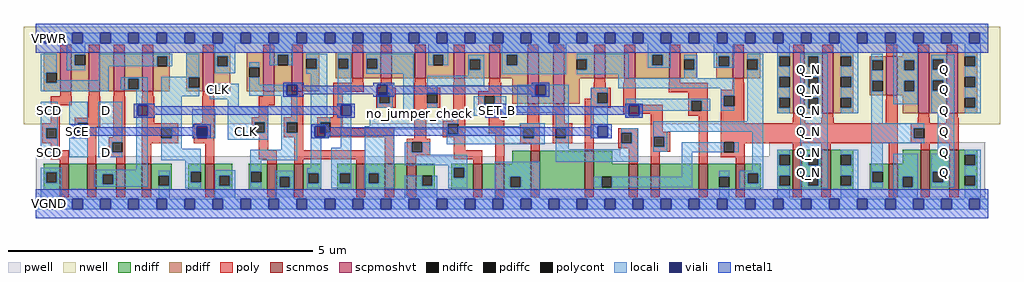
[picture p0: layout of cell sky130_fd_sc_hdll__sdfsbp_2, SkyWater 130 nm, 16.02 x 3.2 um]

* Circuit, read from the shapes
.subckt sky130_fd_sc_hdll__sdfsbp_2 CLK D SCD SCE SET_B VGND VNB VPB VPWR Q Q_N
XM1 n1 SCD VGND VNB sky130_fd_pr__nfet_01v8 w=0.42 l=0.15
XM2 n2 SCE n1 VNB sky130_fd_pr__nfet_01v8 w=0.42 l=0.15
XM3 n3 D n2 VNB sky130_fd_pr__nfet_01v8 w=0.42 l=0.15
XM4 VGND n4 n3 VNB sky130_fd_pr__nfet_01v8 w=0.42 l=0.15
XM5 VGND SCE n4 VNB sky130_fd_pr__nfet_01v8 w=0.42 l=0.15
XM6 VGND CLK n5 VNB sky130_fd_pr__nfet_01v8 w=0.42 l=0.15
XM7 n6 n5 VGND VNB sky130_fd_pr__nfet_01v8 w=0.42 l=0.15
XM8 n7 n5 n2 VNB sky130_fd_pr__nfet_01v8 w=0.42 l=0.15
XM9 n8 n6 n7 VNB sky130_fd_pr__nfet_01v8 w=0.42 l=0.15
XM10 VGND n9 n8 VNB sky130_fd_pr__nfet_01v8 w=0.42 l=0.15
XM11 n10 n7 n9 VNB sky130_fd_pr__nfet_01v8 w=0.42 l=0.15
XM12 VGND SET_B n10 VNB sky130_fd_pr__nfet_01v8 w=0.42 l=0.15
XM13 n11 n7 VGND VNB sky130_fd_pr__nfet_01v8 w=0.64 l=0.15
XM14 n12 n6 n11 VNB sky130_fd_pr__nfet_01v8 w=0.64 l=0.15
XM15 n13 n5 n12 VNB sky130_fd_pr__nfet_01v8 w=0.42 l=0.15
XM16 n14 n15 n13 VNB sky130_fd_pr__nfet_01v8 w=0.42 l=0.15
XM17 VGND SET_B n14 VNB sky130_fd_pr__nfet_01v8 w=0.42 l=0.15
XM18 n15 n12 VGND VNB sky130_fd_pr__nfet_01v8 w=0.42 l=0.15
XM19 Q_N n12 VGND VNB sky130_fd_pr__nfet_01v8 w=0.65 l=0.15 m=2
XM20 VGND n12 n16 VNB sky130_fd_pr__nfet_01v8 w=0.42 l=0.15
XM21 Q n16 VGND VNB sky130_fd_pr__nfet_01v8 w=0.65 l=0.15 m=2
XM22 VPWR SCD n17 VPB sky130_fd_pr__pfet_01v8_hvt w=0.64 l=0.18
XM23 n18 SCE VPWR VPB sky130_fd_pr__pfet_01v8_hvt w=0.64 l=0.18
XM24 n2 D n18 VPB sky130_fd_pr__pfet_01v8_hvt w=0.64 l=0.18
XM25 n17 n4 n2 VPB sky130_fd_pr__pfet_01v8_hvt w=0.64 l=0.18
XM26 VPWR SCE n4 VPB sky130_fd_pr__pfet_01v8_hvt w=0.64 l=0.18
XM27 VPWR CLK n5 VPB sky130_fd_pr__pfet_01v8_hvt w=0.64 l=0.18
XM28 n6 n5 VPWR VPB sky130_fd_pr__pfet_01v8_hvt w=0.64 l=0.18
XM29 n7 n6 n2 VPB sky130_fd_pr__pfet_01v8_hvt w=0.42 l=0.18
XM30 n19 n5 n7 VPB sky130_fd_pr__pfet_01v8_hvt w=0.42 l=0.18
XM31 VPWR n9 n19 VPB sky130_fd_pr__pfet_01v8_hvt w=0.42 l=0.18
XM32 n9 n7 VPWR VPB sky130_fd_pr__pfet_01v8_hvt w=0.42 l=0.18
XM33 VPWR SET_B n9 VPB sky130_fd_pr__pfet_01v8_hvt w=0.42 l=0.18
XM34 n20 n7 VPWR VPB sky130_fd_pr__pfet_01v8_hvt w=0.84 l=0.18
XM35 n12 n5 n20 VPB sky130_fd_pr__pfet_01v8_hvt w=0.84 l=0.18
XM36 n21 n6 n12 VPB sky130_fd_pr__pfet_01v8_hvt w=0.42 l=0.18
XM37 VPWR n15 n21 VPB sky130_fd_pr__pfet_01v8_hvt w=0.42 l=0.18
XM38 n12 SET_B VPWR VPB sky130_fd_pr__pfet_01v8_hvt w=0.42 l=0.18
XM39 n15 n12 VPWR VPB sky130_fd_pr__pfet_01v8_hvt w=0.42 l=0.18
XM40 Q_N n12 VPWR VPB sky130_fd_pr__pfet_01v8_hvt w=1 l=0.18 m=2
XM41 VPWR n12 n16 VPB sky130_fd_pr__pfet_01v8_hvt w=0.64 l=0.18
XM42 Q n16 VPWR VPB sky130_fd_pr__pfet_01v8_hvt w=1 l=0.18 m=2
.ends

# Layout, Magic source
magic
tech sky130A
magscale 1 2
<< nwell >>
rect -38 261 3166 582
<< pwell >>
rect 1538 157 1919 201
rect 2408 157 3118 203
rect 1 21 3118 157
rect 30 -17 64 21
<< scnmos >>
rect 79 47 109 131
rect 169 47 199 131
rect 265 47 295 131
rect 349 47 379 131
rect 557 47 587 131
rect 761 47 791 131
rect 849 47 879 131
rect 1053 47 1083 131
rect 1147 47 1177 131
rect 1219 47 1249 131
rect 1437 47 1467 131
rect 1509 47 1539 131
rect 1625 47 1655 175
rect 1803 47 1833 175
rect 1947 47 1977 131
rect 2019 47 2049 131
rect 2177 47 2207 131
rect 2298 47 2328 131
rect 2486 47 2516 177
rect 2580 47 2610 177
rect 2801 47 2831 131
rect 2906 47 2936 177
rect 3000 47 3030 177
<< scpmoshvt >>
rect 81 369 117 497
rect 175 369 211 497
rect 257 369 293 497
rect 351 369 387 497
rect 549 369 585 497
rect 747 369 783 497
rect 841 369 877 497
rect 1039 413 1075 497
rect 1133 413 1169 497
rect 1245 413 1281 497
rect 1373 413 1409 497
rect 1490 413 1526 497
rect 1616 329 1652 497
rect 1699 329 1735 497
rect 1834 413 1870 497
rect 1932 413 1968 497
rect 2081 413 2117 497
rect 2289 413 2325 497
rect 2488 297 2524 497
rect 2582 297 2618 497
rect 2793 356 2829 484
rect 2898 297 2934 497
rect 2992 297 3028 497
<< ndiff >>
rect 1564 131 1625 175
rect 27 103 79 131
rect 27 69 35 103
rect 69 69 79 103
rect 27 47 79 69
rect 109 47 169 131
rect 199 98 265 131
rect 199 64 221 98
rect 255 64 265 98
rect 199 47 265 64
rect 295 47 349 131
rect 379 93 447 131
rect 379 59 405 93
rect 439 59 447 93
rect 379 47 447 59
rect 501 105 557 131
rect 501 71 509 105
rect 543 71 557 105
rect 501 47 557 71
rect 587 93 645 131
rect 587 59 603 93
rect 637 59 645 93
rect 587 47 645 59
rect 699 105 761 131
rect 699 71 707 105
rect 741 71 761 105
rect 699 47 761 71
rect 791 89 849 131
rect 791 55 801 89
rect 835 55 849 89
rect 791 47 849 55
rect 879 101 937 131
rect 879 67 895 101
rect 929 67 937 101
rect 879 47 937 67
rect 991 101 1053 131
rect 991 67 999 101
rect 1033 67 1053 101
rect 991 47 1053 67
rect 1083 101 1147 131
rect 1083 67 1093 101
rect 1127 67 1147 101
rect 1083 47 1147 67
rect 1177 47 1219 131
rect 1249 93 1311 131
rect 1249 59 1269 93
rect 1303 59 1311 93
rect 1249 47 1311 59
rect 1365 119 1437 131
rect 1365 85 1373 119
rect 1407 85 1437 119
rect 1365 47 1437 85
rect 1467 47 1509 131
rect 1539 89 1625 131
rect 1539 55 1559 89
rect 1593 55 1625 89
rect 1539 47 1625 55
rect 1655 47 1803 175
rect 1833 131 1893 175
rect 2434 161 2486 177
rect 1833 89 1947 131
rect 1833 55 1858 89
rect 1892 55 1947 89
rect 1833 47 1947 55
rect 1977 47 2019 131
rect 2049 47 2177 131
rect 2207 89 2298 131
rect 2207 55 2244 89
rect 2278 55 2298 89
rect 2207 47 2298 55
rect 2328 101 2380 131
rect 2328 67 2338 101
rect 2372 67 2380 101
rect 2328 47 2380 67
rect 2434 127 2442 161
rect 2476 127 2486 161
rect 2434 93 2486 127
rect 2434 59 2442 93
rect 2476 59 2486 93
rect 2434 47 2486 59
rect 2516 161 2580 177
rect 2516 127 2536 161
rect 2570 127 2580 161
rect 2516 93 2580 127
rect 2516 59 2536 93
rect 2570 59 2580 93
rect 2516 47 2580 59
rect 2610 161 2685 177
rect 2610 127 2643 161
rect 2677 127 2685 161
rect 2846 131 2906 177
rect 2610 93 2685 127
rect 2610 59 2643 93
rect 2677 59 2685 93
rect 2610 47 2685 59
rect 2739 105 2801 131
rect 2739 71 2747 105
rect 2781 71 2801 105
rect 2739 47 2801 71
rect 2831 89 2906 131
rect 2831 55 2846 89
rect 2880 55 2906 89
rect 2831 47 2906 55
rect 2936 105 3000 177
rect 2936 71 2946 105
rect 2980 71 3000 105
rect 2936 47 3000 71
rect 3030 161 3092 177
rect 3030 127 3050 161
rect 3084 127 3092 161
rect 3030 93 3092 127
rect 3030 59 3050 93
rect 3084 59 3092 93
rect 3030 47 3092 59
<< pdiff >>
rect 27 431 81 497
rect 27 397 35 431
rect 69 397 81 431
rect 27 369 81 397
rect 117 489 175 497
rect 117 455 129 489
rect 163 455 175 489
rect 117 369 175 455
rect 211 369 257 497
rect 293 411 351 497
rect 293 377 305 411
rect 339 377 351 411
rect 293 369 351 377
rect 387 485 441 497
rect 387 451 399 485
rect 433 451 441 485
rect 387 369 441 451
rect 495 415 549 497
rect 495 381 503 415
rect 537 381 549 415
rect 495 369 549 381
rect 585 485 639 497
rect 585 451 597 485
rect 631 451 639 485
rect 585 369 639 451
rect 693 449 747 497
rect 693 415 701 449
rect 735 415 747 449
rect 693 369 747 415
rect 783 489 841 497
rect 783 455 795 489
rect 829 455 841 489
rect 783 369 841 455
rect 877 477 931 497
rect 877 443 889 477
rect 923 443 931 477
rect 877 369 931 443
rect 985 477 1039 497
rect 985 443 993 477
rect 1027 443 1039 477
rect 985 413 1039 443
rect 1075 477 1133 497
rect 1075 443 1087 477
rect 1121 443 1133 477
rect 1075 413 1133 443
rect 1169 413 1245 497
rect 1281 489 1373 497
rect 1281 455 1305 489
rect 1339 455 1373 489
rect 1281 413 1373 455
rect 1409 474 1490 497
rect 1409 440 1425 474
rect 1459 440 1490 474
rect 1409 413 1490 440
rect 1526 489 1616 497
rect 1526 455 1547 489
rect 1581 455 1616 489
rect 1526 413 1616 455
rect 1564 329 1616 413
rect 1652 329 1699 497
rect 1735 475 1834 497
rect 1735 441 1776 475
rect 1810 441 1834 475
rect 1735 413 1834 441
rect 1870 413 1932 497
rect 1968 489 2081 497
rect 1968 455 2025 489
rect 2059 455 2081 489
rect 1968 413 2081 455
rect 2117 474 2171 497
rect 2117 440 2129 474
rect 2163 440 2171 474
rect 2117 413 2171 440
rect 2235 485 2289 497
rect 2235 451 2243 485
rect 2277 451 2289 485
rect 2235 413 2289 451
rect 2325 474 2379 497
rect 2325 440 2337 474
rect 2371 440 2379 474
rect 2325 413 2379 440
rect 2434 485 2488 497
rect 2434 451 2442 485
rect 2476 451 2488 485
rect 2434 417 2488 451
rect 1735 329 1787 413
rect 2434 383 2442 417
rect 2476 383 2488 417
rect 2434 349 2488 383
rect 2434 315 2442 349
rect 2476 315 2488 349
rect 2434 297 2488 315
rect 2524 484 2582 497
rect 2524 450 2536 484
rect 2570 450 2582 484
rect 2524 416 2582 450
rect 2524 382 2536 416
rect 2570 382 2582 416
rect 2524 348 2582 382
rect 2524 314 2536 348
rect 2570 314 2582 348
rect 2524 297 2582 314
rect 2618 485 2685 497
rect 2618 451 2643 485
rect 2677 451 2685 485
rect 2846 484 2898 497
rect 2618 417 2685 451
rect 2618 383 2643 417
rect 2677 383 2685 417
rect 2618 349 2685 383
rect 2739 472 2793 484
rect 2739 438 2747 472
rect 2781 438 2793 472
rect 2739 404 2793 438
rect 2739 370 2747 404
rect 2781 370 2793 404
rect 2739 356 2793 370
rect 2829 472 2898 484
rect 2829 438 2851 472
rect 2885 438 2898 472
rect 2829 404 2898 438
rect 2829 370 2851 404
rect 2885 370 2898 404
rect 2829 356 2898 370
rect 2618 315 2643 349
rect 2677 315 2685 349
rect 2618 297 2685 315
rect 2846 297 2898 356
rect 2934 474 2992 497
rect 2934 440 2946 474
rect 2980 440 2992 474
rect 2934 406 2992 440
rect 2934 372 2946 406
rect 2980 372 2992 406
rect 2934 297 2992 372
rect 3028 485 3092 497
rect 3028 451 3050 485
rect 3084 451 3092 485
rect 3028 417 3092 451
rect 3028 383 3050 417
rect 3084 383 3092 417
rect 3028 349 3092 383
rect 3028 315 3050 349
rect 3084 315 3092 349
rect 3028 297 3092 315
<< ndiffc >>
rect 35 69 69 103
rect 221 64 255 98
rect 405 59 439 93
rect 509 71 543 105
rect 603 59 637 93
rect 707 71 741 105
rect 801 55 835 89
rect 895 67 929 101
rect 999 67 1033 101
rect 1093 67 1127 101
rect 1269 59 1303 93
rect 1373 85 1407 119
rect 1559 55 1593 89
rect 1858 55 1892 89
rect 2244 55 2278 89
rect 2338 67 2372 101
rect 2442 127 2476 161
rect 2442 59 2476 93
rect 2536 127 2570 161
rect 2536 59 2570 93
rect 2643 127 2677 161
rect 2643 59 2677 93
rect 2747 71 2781 105
rect 2846 55 2880 89
rect 2946 71 2980 105
rect 3050 127 3084 161
rect 3050 59 3084 93
<< pdiffc >>
rect 35 397 69 431
rect 129 455 163 489
rect 305 377 339 411
rect 399 451 433 485
rect 503 381 537 415
rect 597 451 631 485
rect 701 415 735 449
rect 795 455 829 489
rect 889 443 923 477
rect 993 443 1027 477
rect 1087 443 1121 477
rect 1305 455 1339 489
rect 1425 440 1459 474
rect 1547 455 1581 489
rect 1776 441 1810 475
rect 2025 455 2059 489
rect 2129 440 2163 474
rect 2243 451 2277 485
rect 2337 440 2371 474
rect 2442 451 2476 485
rect 2442 383 2476 417
rect 2442 315 2476 349
rect 2536 450 2570 484
rect 2536 382 2570 416
rect 2536 314 2570 348
rect 2643 451 2677 485
rect 2643 383 2677 417
rect 2747 438 2781 472
rect 2747 370 2781 404
rect 2851 438 2885 472
rect 2851 370 2885 404
rect 2643 315 2677 349
rect 2946 440 2980 474
rect 2946 372 2980 406
rect 3050 451 3084 485
rect 3050 383 3084 417
rect 3050 315 3084 349
<< poly >>
rect 81 497 117 523
rect 175 497 211 523
rect 257 497 293 523
rect 351 497 387 523
rect 549 497 585 523
rect 747 497 783 523
rect 841 497 877 523
rect 1039 497 1075 523
rect 1133 497 1169 523
rect 1245 497 1281 523
rect 1373 497 1409 523
rect 1490 497 1526 523
rect 1616 497 1652 523
rect 1699 497 1735 523
rect 1834 497 1870 523
rect 1932 497 1968 523
rect 2081 497 2117 523
rect 2289 497 2325 523
rect 2488 497 2524 523
rect 2582 497 2618 523
rect 1039 398 1075 413
rect 1133 398 1169 413
rect 1245 398 1281 413
rect 1373 398 1409 413
rect 1490 398 1526 413
rect 81 354 117 369
rect 175 354 211 369
rect 257 354 293 369
rect 351 354 387 369
rect 549 354 585 369
rect 747 354 783 369
rect 841 354 877 369
rect 978 368 1077 398
rect 1131 381 1171 398
rect 1243 381 1283 398
rect 49 324 119 354
rect 49 265 79 324
rect 173 282 213 354
rect 22 249 79 265
rect 22 215 35 249
rect 69 215 79 249
rect 128 266 213 282
rect 128 232 138 266
rect 172 253 213 266
rect 172 232 199 253
rect 128 216 199 232
rect 255 219 295 354
rect 22 199 79 215
rect 49 176 79 199
rect 49 146 109 176
rect 79 131 109 146
rect 169 131 199 216
rect 241 203 295 219
rect 241 169 251 203
rect 285 169 295 203
rect 241 153 295 169
rect 265 131 295 153
rect 349 265 389 354
rect 547 265 587 354
rect 733 324 785 354
rect 733 284 763 324
rect 839 284 879 354
rect 978 284 1008 368
rect 1119 365 1183 381
rect 1119 331 1129 365
rect 1163 331 1183 365
rect 1119 315 1183 331
rect 1243 365 1329 381
rect 1243 331 1285 365
rect 1319 331 1329 365
rect 1243 315 1329 331
rect 349 249 469 265
rect 349 215 413 249
rect 447 215 469 249
rect 349 199 469 215
rect 520 249 587 265
rect 520 215 530 249
rect 564 215 587 249
rect 709 268 763 284
rect 709 234 719 268
rect 753 234 763 268
rect 709 218 763 234
rect 815 268 879 284
rect 815 234 825 268
rect 859 234 879 268
rect 815 218 879 234
rect 924 268 1008 284
rect 924 234 934 268
rect 968 248 1008 268
rect 968 234 1177 248
rect 924 218 1177 234
rect 520 199 587 215
rect 349 131 379 199
rect 557 131 587 199
rect 733 176 763 218
rect 849 176 879 218
rect 733 146 791 176
rect 761 131 791 146
rect 849 146 1083 176
rect 849 131 879 146
rect 1053 131 1083 146
rect 1147 131 1177 218
rect 1243 213 1283 315
rect 1371 273 1411 398
rect 1488 369 1528 398
rect 1453 353 1528 369
rect 1453 319 1473 353
rect 1507 319 1528 353
rect 1834 398 1870 413
rect 1932 398 1968 413
rect 2081 398 2117 413
rect 2289 398 2325 413
rect 1832 381 1872 398
rect 1824 365 1888 381
rect 1824 345 1844 365
rect 1803 331 1844 345
rect 1878 331 1888 365
rect 1453 303 1528 319
rect 1616 314 1652 329
rect 1699 314 1735 329
rect 1803 315 1888 331
rect 1930 325 1970 398
rect 2079 397 2119 398
rect 2079 367 2207 397
rect 2287 375 2327 398
rect 2143 339 2207 367
rect 1337 263 1411 273
rect 1337 229 1353 263
rect 1387 229 1411 263
rect 1488 273 1528 303
rect 1488 232 1539 273
rect 1614 265 1654 314
rect 1697 265 1737 314
rect 1337 219 1411 229
rect 1219 203 1295 213
rect 1219 169 1235 203
rect 1269 169 1295 203
rect 1219 159 1295 169
rect 1373 176 1411 219
rect 1219 131 1249 159
rect 1373 146 1467 176
rect 1437 131 1467 146
rect 1509 131 1539 232
rect 1591 249 1655 265
rect 1591 215 1601 249
rect 1635 215 1655 249
rect 1591 199 1655 215
rect 1697 249 1761 265
rect 1697 215 1707 249
rect 1741 215 1761 249
rect 1697 199 1761 215
rect 1625 175 1655 199
rect 1803 175 1833 315
rect 1930 295 2059 325
rect 1912 233 1977 249
rect 1912 199 1923 233
rect 1957 199 1977 233
rect 1912 183 1977 199
rect 1947 131 1977 183
rect 2019 237 2059 295
rect 2143 305 2153 339
rect 2187 305 2207 339
rect 2143 289 2207 305
rect 2019 221 2083 237
rect 2019 187 2029 221
rect 2063 187 2083 221
rect 2019 171 2083 187
rect 2019 131 2049 171
rect 2177 131 2207 289
rect 2249 355 2327 375
rect 2249 321 2259 355
rect 2293 321 2327 355
rect 2249 265 2327 321
rect 2793 484 2829 523
rect 2898 497 2934 523
rect 2992 497 3028 523
rect 2793 341 2829 356
rect 2488 282 2524 297
rect 2582 282 2618 297
rect 2486 265 2526 282
rect 2580 265 2620 282
rect 2791 265 2831 341
rect 2898 282 2934 297
rect 2992 282 3028 297
rect 2896 265 2936 282
rect 2990 265 3030 282
rect 2249 203 2831 265
rect 2249 169 2259 203
rect 2293 199 2831 203
rect 2873 249 3030 265
rect 2873 215 2883 249
rect 2917 215 3030 249
rect 2873 199 3030 215
rect 2293 169 2328 199
rect 2486 177 2516 199
rect 2580 177 2610 199
rect 2249 153 2328 169
rect 2298 131 2328 153
rect 2801 131 2831 199
rect 2906 177 2936 199
rect 3000 177 3030 199
rect 79 21 109 47
rect 169 21 199 47
rect 265 21 295 47
rect 349 21 379 47
rect 557 21 587 47
rect 761 21 791 47
rect 849 21 879 47
rect 1053 21 1083 47
rect 1147 21 1177 47
rect 1219 21 1249 47
rect 1437 21 1467 47
rect 1509 21 1539 47
rect 1625 21 1655 47
rect 1803 21 1833 47
rect 1947 21 1977 47
rect 2019 21 2049 47
rect 2177 21 2207 47
rect 2298 21 2328 47
rect 2486 21 2516 47
rect 2580 21 2610 47
rect 2801 21 2831 47
rect 2906 21 2936 47
rect 3000 21 3030 47
<< polycont >>
rect 35 215 69 249
rect 138 232 172 266
rect 251 169 285 203
rect 1129 331 1163 365
rect 1285 331 1319 365
rect 413 215 447 249
rect 530 215 564 249
rect 719 234 753 268
rect 825 234 859 268
rect 934 234 968 268
rect 1473 319 1507 353
rect 1844 331 1878 365
rect 1353 229 1387 263
rect 1235 169 1269 203
rect 1601 215 1635 249
rect 1707 215 1741 249
rect 1923 199 1957 233
rect 2153 305 2187 339
rect 2029 187 2063 221
rect 2259 321 2293 355
rect 2259 169 2293 203
rect 2883 215 2917 249
<< locali >>
rect 0 527 29 561
rect 63 527 121 561
rect 155 527 213 561
rect 247 527 305 561
rect 339 527 397 561
rect 431 527 489 561
rect 523 527 581 561
rect 615 527 673 561
rect 707 527 765 561
rect 799 527 857 561
rect 891 527 949 561
rect 983 527 1041 561
rect 1075 527 1133 561
rect 1167 527 1225 561
rect 1259 527 1317 561
rect 1351 527 1409 561
rect 1443 527 1501 561
rect 1535 527 1593 561
rect 1627 527 1685 561
rect 1719 527 1777 561
rect 1811 527 1869 561
rect 1903 527 1961 561
rect 1995 527 2053 561
rect 2087 527 2145 561
rect 2179 527 2237 561
rect 2271 527 2329 561
rect 2363 527 2421 561
rect 2455 527 2513 561
rect 2547 527 2605 561
rect 2639 527 2697 561
rect 2731 527 2789 561
rect 2823 527 2881 561
rect 2915 527 2973 561
rect 3007 527 3065 561
rect 3099 527 3128 561
rect 17 431 69 493
rect 103 489 163 527
rect 103 455 129 489
rect 103 439 163 455
rect 207 485 449 493
rect 207 451 399 485
rect 433 451 449 485
rect 17 397 35 431
rect 207 405 241 451
rect 494 417 537 493
rect 588 485 656 527
rect 588 451 597 485
rect 631 451 656 485
rect 769 489 845 527
rect 588 428 656 451
rect 701 449 735 465
rect 769 455 795 489
rect 829 455 845 489
rect 889 477 958 493
rect 413 415 537 417
rect 69 397 241 405
rect 17 369 241 397
rect 279 411 369 415
rect 279 377 305 411
rect 339 377 369 411
rect 279 374 369 377
rect 17 249 73 335
rect 17 215 35 249
rect 69 215 73 249
rect 17 153 73 215
rect 110 266 172 335
rect 110 255 138 266
rect 110 221 126 255
rect 160 221 172 232
rect 110 153 172 221
rect 206 203 285 335
rect 206 169 251 203
rect 206 153 285 169
rect 331 323 369 374
rect 331 289 335 323
rect 17 103 86 119
rect 331 112 369 289
rect 413 381 503 415
rect 923 443 958 477
rect 889 427 958 443
rect 413 354 537 381
rect 413 249 480 354
rect 571 344 667 394
rect 701 391 735 415
rect 701 357 825 391
rect 701 355 859 357
rect 631 318 667 344
rect 447 215 480 249
rect 514 255 590 310
rect 514 221 529 255
rect 563 249 590 255
rect 514 215 530 221
rect 564 215 590 249
rect 631 268 763 318
rect 631 234 719 268
rect 753 234 763 268
rect 413 181 480 215
rect 631 211 763 234
rect 807 268 859 355
rect 807 234 825 268
rect 413 143 543 181
rect 807 177 859 234
rect 17 69 35 103
rect 69 69 86 103
rect 17 17 86 69
rect 195 98 369 112
rect 195 64 221 98
rect 255 64 369 98
rect 195 56 369 64
rect 405 93 441 109
rect 439 59 441 93
rect 405 17 441 59
rect 492 105 543 143
rect 704 143 859 177
rect 903 284 958 427
rect 992 477 1036 493
rect 992 443 993 477
rect 1027 443 1036 477
rect 992 323 1036 443
rect 1086 477 1241 493
rect 1086 443 1087 477
rect 1121 443 1241 477
rect 1289 489 1355 527
rect 1289 455 1305 489
rect 1339 455 1355 489
rect 1420 474 1473 490
rect 1086 427 1241 443
rect 992 318 1002 323
rect 1155 365 1173 391
rect 1121 331 1129 357
rect 1163 331 1173 365
rect 1121 315 1173 331
rect 903 268 968 284
rect 903 255 934 268
rect 903 221 917 255
rect 951 221 968 234
rect 903 218 968 221
rect 492 71 509 105
rect 492 51 543 71
rect 588 93 656 111
rect 588 59 603 93
rect 637 59 656 93
rect 588 17 656 59
rect 704 105 741 143
rect 903 117 937 218
rect 1002 184 1036 289
rect 1207 279 1241 427
rect 1420 440 1425 474
rect 1459 440 1473 474
rect 1420 421 1473 440
rect 1531 489 1742 527
rect 1531 455 1547 489
rect 1581 455 1742 489
rect 1531 425 1742 455
rect 1776 475 1947 492
rect 1810 441 1947 475
rect 2009 489 2085 527
rect 2009 455 2025 489
rect 2059 455 2085 489
rect 2009 447 2085 455
rect 2129 474 2172 490
rect 1776 425 1947 441
rect 1285 387 1473 421
rect 1913 413 1947 425
rect 2163 440 2172 474
rect 2227 485 2293 527
rect 2227 451 2243 485
rect 2277 451 2293 485
rect 2227 447 2293 451
rect 2337 474 2389 493
rect 2129 413 2172 440
rect 2371 440 2389 474
rect 1285 365 1319 387
rect 1582 357 1641 391
rect 1675 357 1751 391
rect 1285 315 1319 331
rect 1438 319 1473 353
rect 1507 323 1545 353
rect 1438 289 1489 319
rect 1523 289 1545 323
rect 1582 299 1751 357
rect 1097 263 1387 279
rect 1097 255 1353 263
rect 704 71 707 105
rect 704 51 741 71
rect 786 89 848 109
rect 786 55 801 89
rect 835 55 848 89
rect 786 17 848 55
rect 892 101 937 117
rect 892 67 895 101
rect 929 67 937 101
rect 892 51 937 67
rect 971 101 1036 184
rect 971 67 999 101
rect 1033 67 1036 101
rect 971 51 1036 67
rect 1080 245 1353 255
rect 1080 101 1178 245
rect 1350 229 1353 245
rect 1590 255 1672 265
rect 1387 249 1672 255
rect 1387 229 1601 249
rect 1350 215 1601 229
rect 1635 215 1672 249
rect 1212 169 1235 203
rect 1269 169 1295 203
rect 1350 195 1672 215
rect 1707 249 1751 299
rect 1741 215 1751 249
rect 1823 365 1879 381
rect 1913 379 2293 413
rect 1823 331 1844 365
rect 1878 331 1879 365
rect 2249 355 2293 379
rect 1823 255 1879 331
rect 1937 339 2215 345
rect 1937 323 2153 339
rect 1937 289 1947 323
rect 1981 305 2153 323
rect 2187 305 2215 339
rect 2249 321 2259 355
rect 2249 305 2293 321
rect 1981 289 1992 305
rect 1937 283 1992 289
rect 2337 271 2389 440
rect 2434 485 2476 527
rect 2434 451 2442 485
rect 2434 417 2476 451
rect 2434 383 2442 417
rect 2434 349 2476 383
rect 2434 315 2442 349
rect 2434 297 2476 315
rect 2511 484 2600 493
rect 2511 450 2536 484
rect 2570 450 2600 484
rect 2511 416 2600 450
rect 2511 382 2536 416
rect 2570 382 2600 416
rect 2511 348 2600 382
rect 2511 314 2536 348
rect 2570 314 2600 348
rect 1823 221 1845 255
rect 1823 215 1879 221
rect 1922 233 1978 249
rect 1212 161 1295 169
rect 1707 179 1751 215
rect 1922 199 1923 233
rect 1957 199 1978 233
rect 1922 179 1978 199
rect 1212 127 1417 161
rect 1707 139 1978 179
rect 2028 237 2389 271
rect 2028 221 2073 237
rect 2028 187 2029 221
rect 2063 187 2073 221
rect 2028 171 2073 187
rect 2121 169 2259 203
rect 2293 169 2309 203
rect 1080 67 1093 101
rect 1127 67 1178 101
rect 1355 119 1417 127
rect 1080 51 1178 67
rect 1212 59 1269 93
rect 1303 59 1319 93
rect 1212 17 1319 59
rect 1355 85 1373 119
rect 1407 85 1417 119
rect 1355 51 1417 85
rect 1508 89 1655 138
rect 2121 89 2155 169
rect 1508 55 1559 89
rect 1593 55 1655 89
rect 1832 55 1858 89
rect 1892 55 2155 89
rect 2244 89 2278 109
rect 2353 108 2389 237
rect 1508 17 1655 55
rect 2244 17 2278 55
rect 2312 101 2389 108
rect 2312 67 2338 101
rect 2372 67 2389 101
rect 2312 51 2389 67
rect 2434 161 2476 177
rect 2434 127 2442 161
rect 2434 93 2476 127
rect 2434 59 2442 93
rect 2434 17 2476 59
rect 2511 161 2600 314
rect 2643 485 2701 527
rect 2677 451 2701 485
rect 2643 417 2701 451
rect 2677 383 2701 417
rect 2643 349 2701 383
rect 2677 315 2701 349
rect 2643 297 2701 315
rect 2744 472 2781 493
rect 2744 438 2747 472
rect 2744 404 2781 438
rect 2744 370 2747 404
rect 2744 265 2781 370
rect 2815 472 2896 527
rect 2815 438 2851 472
rect 2885 438 2896 472
rect 2815 404 2896 438
rect 2815 370 2851 404
rect 2885 370 2896 404
rect 2815 327 2896 370
rect 2940 474 3016 490
rect 2940 440 2946 474
rect 2980 440 3016 474
rect 2940 406 3016 440
rect 2940 372 2946 406
rect 2980 372 3016 406
rect 2940 299 3016 372
rect 2744 249 2917 265
rect 2744 215 2883 249
rect 2744 199 2917 215
rect 2511 127 2536 161
rect 2570 127 2600 161
rect 2511 93 2600 127
rect 2511 59 2536 93
rect 2570 59 2600 93
rect 2511 51 2600 59
rect 2643 161 2701 177
rect 2677 127 2701 161
rect 2643 93 2701 127
rect 2677 59 2701 93
rect 2643 17 2701 59
rect 2744 105 2781 199
rect 2961 165 3016 299
rect 3050 485 3103 527
rect 3084 451 3103 485
rect 3050 417 3103 451
rect 3084 383 3103 417
rect 3050 349 3103 383
rect 3084 315 3103 349
rect 3050 297 3103 315
rect 2744 71 2747 105
rect 2744 51 2781 71
rect 2815 89 2896 165
rect 2815 55 2846 89
rect 2880 55 2896 89
rect 2940 105 3016 165
rect 2940 71 2946 105
rect 2980 71 3016 105
rect 2940 55 3016 71
rect 3050 161 3103 177
rect 3084 127 3103 161
rect 3050 93 3103 127
rect 3084 59 3103 93
rect 2815 17 2896 55
rect 3050 17 3103 59
rect 0 -17 29 17
rect 63 -17 121 17
rect 155 -17 213 17
rect 247 -17 305 17
rect 339 -17 397 17
rect 431 -17 489 17
rect 523 -17 581 17
rect 615 -17 673 17
rect 707 -17 765 17
rect 799 -17 857 17
rect 891 -17 949 17
rect 983 -17 1041 17
rect 1075 -17 1133 17
rect 1167 -17 1225 17
rect 1259 -17 1317 17
rect 1351 -17 1409 17
rect 1443 -17 1501 17
rect 1535 -17 1593 17
rect 1627 -17 1685 17
rect 1719 -17 1777 17
rect 1811 -17 1869 17
rect 1903 -17 1961 17
rect 1995 -17 2053 17
rect 2087 -17 2145 17
rect 2179 -17 2237 17
rect 2271 -17 2329 17
rect 2363 -17 2421 17
rect 2455 -17 2513 17
rect 2547 -17 2605 17
rect 2639 -17 2697 17
rect 2731 -17 2789 17
rect 2823 -17 2881 17
rect 2915 -17 2973 17
rect 3007 -17 3065 17
rect 3099 -17 3128 17
<< viali >>
rect 29 527 63 561
rect 121 527 155 561
rect 213 527 247 561
rect 305 527 339 561
rect 397 527 431 561
rect 489 527 523 561
rect 581 527 615 561
rect 673 527 707 561
rect 765 527 799 561
rect 857 527 891 561
rect 949 527 983 561
rect 1041 527 1075 561
rect 1133 527 1167 561
rect 1225 527 1259 561
rect 1317 527 1351 561
rect 1409 527 1443 561
rect 1501 527 1535 561
rect 1593 527 1627 561
rect 1685 527 1719 561
rect 1777 527 1811 561
rect 1869 527 1903 561
rect 1961 527 1995 561
rect 2053 527 2087 561
rect 2145 527 2179 561
rect 2237 527 2271 561
rect 2329 527 2363 561
rect 2421 527 2455 561
rect 2513 527 2547 561
rect 2605 527 2639 561
rect 2697 527 2731 561
rect 2789 527 2823 561
rect 2881 527 2915 561
rect 2973 527 3007 561
rect 3065 527 3099 561
rect 126 232 138 255
rect 138 232 160 255
rect 126 221 160 232
rect 335 289 369 323
rect 825 357 859 391
rect 529 249 563 255
rect 529 221 530 249
rect 530 221 563 249
rect 1002 289 1036 323
rect 1121 365 1155 391
rect 1121 357 1129 365
rect 1129 357 1155 365
rect 917 234 934 255
rect 934 234 951 255
rect 917 221 951 234
rect 1641 357 1675 391
rect 1489 319 1507 323
rect 1507 319 1523 323
rect 1489 289 1523 319
rect 1947 289 1981 323
rect 1845 221 1879 255
rect 29 -17 63 17
rect 121 -17 155 17
rect 213 -17 247 17
rect 305 -17 339 17
rect 397 -17 431 17
rect 489 -17 523 17
rect 581 -17 615 17
rect 673 -17 707 17
rect 765 -17 799 17
rect 857 -17 891 17
rect 949 -17 983 17
rect 1041 -17 1075 17
rect 1133 -17 1167 17
rect 1225 -17 1259 17
rect 1317 -17 1351 17
rect 1409 -17 1443 17
rect 1501 -17 1535 17
rect 1593 -17 1627 17
rect 1685 -17 1719 17
rect 1777 -17 1811 17
rect 1869 -17 1903 17
rect 1961 -17 1995 17
rect 2053 -17 2087 17
rect 2145 -17 2179 17
rect 2237 -17 2271 17
rect 2329 -17 2363 17
rect 2421 -17 2455 17
rect 2513 -17 2547 17
rect 2605 -17 2639 17
rect 2697 -17 2731 17
rect 2789 -17 2823 17
rect 2881 -17 2915 17
rect 2973 -17 3007 17
rect 3065 -17 3099 17
<< metal1 >>
rect 0 561 3128 592
rect 0 527 29 561
rect 63 527 121 561
rect 155 527 213 561
rect 247 527 305 561
rect 339 527 397 561
rect 431 527 489 561
rect 523 527 581 561
rect 615 527 673 561
rect 707 527 765 561
rect 799 527 857 561
rect 891 527 949 561
rect 983 527 1041 561
rect 1075 527 1133 561
rect 1167 527 1225 561
rect 1259 527 1317 561
rect 1351 527 1409 561
rect 1443 527 1501 561
rect 1535 527 1593 561
rect 1627 527 1685 561
rect 1719 527 1777 561
rect 1811 527 1869 561
rect 1903 527 1961 561
rect 1995 527 2053 561
rect 2087 527 2145 561
rect 2179 527 2237 561
rect 2271 527 2329 561
rect 2363 527 2421 561
rect 2455 527 2513 561
rect 2547 527 2605 561
rect 2639 527 2697 561
rect 2731 527 2789 561
rect 2823 527 2881 561
rect 2915 527 2973 561
rect 3007 527 3065 561
rect 3099 527 3128 561
rect 0 496 3128 527
rect 813 391 881 397
rect 813 357 825 391
rect 859 388 881 391
rect 1109 391 1177 397
rect 1109 388 1121 391
rect 859 360 1121 388
rect 859 357 881 360
rect 813 351 881 357
rect 1109 357 1121 360
rect 1155 388 1177 391
rect 1629 391 1687 397
rect 1629 388 1641 391
rect 1155 360 1641 388
rect 1155 357 1177 360
rect 1109 351 1177 357
rect 1629 357 1641 360
rect 1675 357 1687 391
rect 1629 351 1687 357
rect 323 323 391 329
rect 323 289 335 323
rect 369 320 391 323
rect 990 323 1048 329
rect 990 320 1002 323
rect 369 292 1002 320
rect 369 289 391 292
rect 323 283 391 289
rect 990 289 1002 292
rect 1036 289 1048 323
rect 990 283 1048 289
rect 1477 323 1545 329
rect 1477 289 1489 323
rect 1523 320 1545 323
rect 1935 323 1993 329
rect 1935 320 1947 323
rect 1523 292 1947 320
rect 1523 289 1545 292
rect 1477 283 1545 289
rect 1935 289 1947 292
rect 1981 289 1993 323
rect 1935 283 1993 289
rect 114 255 172 261
rect 114 221 126 255
rect 160 252 172 255
rect 517 255 575 261
rect 517 252 529 255
rect 160 224 529 252
rect 160 221 172 224
rect 114 215 172 221
rect 517 221 529 224
rect 563 221 575 255
rect 517 215 575 221
rect 905 255 963 261
rect 905 221 917 255
rect 951 252 963 255
rect 1823 255 1891 261
rect 1823 252 1845 255
rect 951 224 1845 252
rect 951 221 963 224
rect 905 215 963 221
rect 1823 221 1845 224
rect 1879 221 1891 255
rect 1823 215 1891 221
rect 0 17 3128 48
rect 0 -17 29 17
rect 63 -17 121 17
rect 155 -17 213 17
rect 247 -17 305 17
rect 339 -17 397 17
rect 431 -17 489 17
rect 523 -17 581 17
rect 615 -17 673 17
rect 707 -17 765 17
rect 799 -17 857 17
rect 891 -17 949 17
rect 983 -17 1041 17
rect 1075 -17 1133 17
rect 1167 -17 1225 17
rect 1259 -17 1317 17
rect 1351 -17 1409 17
rect 1443 -17 1501 17
rect 1535 -17 1593 17
rect 1627 -17 1685 17
rect 1719 -17 1777 17
rect 1811 -17 1869 17
rect 1903 -17 1961 17
rect 1995 -17 2053 17
rect 2087 -17 2145 17
rect 2179 -17 2237 17
rect 2271 -17 2329 17
rect 2363 -17 2421 17
rect 2455 -17 2513 17
rect 2547 -17 2605 17
rect 2639 -17 2697 17
rect 2731 -17 2789 17
rect 2823 -17 2881 17
rect 2915 -17 2973 17
rect 3007 -17 3065 17
rect 3099 -17 3128 17
rect 0 -48 3128 -17
<< labels >>
flabel locali s 2519 357 2553 391 0 FreeSans 200 0 0 0 Q_N
port 11 nsew signal output
flabel locali s 2519 425 2553 459 0 FreeSans 200 0 0 0 Q_N
port 11 nsew signal output
flabel locali s 2519 289 2553 323 0 FreeSans 200 0 0 0 Q_N
port 11 nsew signal output
flabel locali s 2519 221 2553 255 0 FreeSans 200 0 0 0 Q_N
port 11 nsew signal output
flabel locali s 2519 153 2553 187 0 FreeSans 200 0 0 0 Q_N
port 11 nsew signal output
flabel locali s 2519 85 2553 119 0 FreeSans 200 0 0 0 Q_N
port 11 nsew signal output
flabel locali s 2967 357 3001 391 0 FreeSans 200 0 0 0 Q
port 10 nsew signal output
flabel locali s 2967 425 3001 459 0 FreeSans 200 0 0 0 Q
port 10 nsew signal output
flabel locali s 2967 221 3001 255 0 FreeSans 200 0 0 0 Q
port 10 nsew signal output
flabel locali s 2967 153 3001 187 0 FreeSans 200 0 0 0 Q
port 10 nsew signal output
flabel locali s 2967 85 3001 119 0 FreeSans 200 0 0 0 Q
port 10 nsew signal output
flabel locali s 2967 289 3001 323 0 FreeSans 200 0 0 0 Q
port 10 nsew signal output
flabel locali s 674 221 708 255 0 FreeSans 200 0 0 0 CLK
port 1 nsew signal input
flabel locali s 216 153 250 187 0 FreeSans 200 0 0 0 D
port 2 nsew signal input
flabel locali s 30 289 64 323 0 FreeSans 200 0 0 0 SCD
port 3 nsew signal input
flabel locali s 216 289 250 323 0 FreeSans 200 0 0 0 D
port 2 nsew signal input
flabel locali s 582 357 616 391 0 FreeSans 200 0 0 0 CLK
port 1 nsew signal input
flabel locali s 30 153 64 187 0 FreeSans 200 0 0 0 SCD
port 3 nsew signal input
flabel metal1 s 121 221 155 255 0 FreeSans 200 0 0 0 SCE
port 4 nsew signal input
flabel metal1 s 1501 289 1535 323 0 FreeSans 200 0 0 0 SET_B
port 5 nsew signal input
flabel metal1 s 30 -17 64 17 0 FreeSans 200 0 0 0 VGND
port 6 nsew ground bidirectional
flabel metal1 s 30 527 64 561 0 FreeSans 200 0 0 0 VPWR
port 9 nsew power bidirectional
flabel nwell s 30 527 64 561 0 FreeSans 200 0 0 0 VPB
port 8 nsew power bidirectional
flabel pwell s 30 -17 64 17 0 FreeSans 200 0 0 0 VNB
port 7 nsew ground bidirectional
flabel comment s 1261 297 1261 297 0 FreeSans 200 0 0 0 no_jumper_check
rlabel comment s 0 0 0 0 4 sdfsbp_1
flabel comment s 2444 225 2444 225 0 FreeSans 200 0 0 0 no_jumper_check
<< properties >>
string LEFsite unithd
string LEFclass CORE
string FIXED_BBOX 0 0 3128 544
string GDS_FILE $PDKPATH/libs.ref/sky130_fd_sc_hdll/gds/sky130_fd_sc_hdll.gds
string LEFsymmetry X Y R90
string GDS_END 2799114
string GDS_START 2775826
string LEFproperties maskLayoutSubType "abstract" prCellType "standard" originalViewName "layout"
<< end >>
